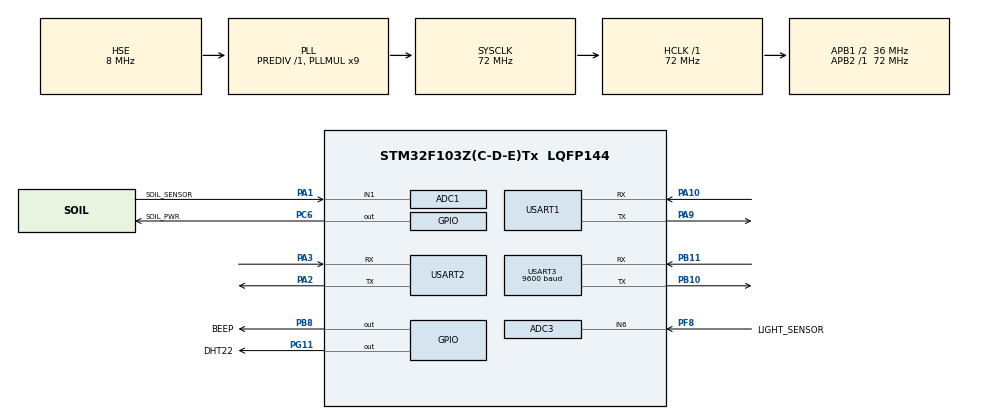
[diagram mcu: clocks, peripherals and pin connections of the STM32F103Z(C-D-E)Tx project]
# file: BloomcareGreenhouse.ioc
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ADC1.Channel-0\#ChannelRegularConversion=ADC_CHANNEL_1
ADC1.NbrOfConversionFlag=1
ADC1.Rank-0\#ChannelRegularConversion=1
ADC1.SamplingTime-0\#ChannelRegularConversion=ADC_SAMPLETIME_239CYCLES_5
ADC1.master=1
ADC3.Channel-0\#ChannelRegularConversion=ADC_CHANNEL_6
ADC3.NbrOfConversionFlag=1
ADC3.Rank-0\#ChannelRegularConversion=1
ADC3.SamplingTime-0\#ChannelRegularConversion=ADC_SAMPLETIME_239CYCLES_5
Dma.Request0=USART2_RX
Dma.Request1=USART2_TX
Dma.Request2=USART3_RX
Dma.Request3=USART3_TX
Dma.USART2_RX.0.Direction=DMA_PERIPH_TO_MEMORY
Dma.USART2_RX.0.Instance=DMA1_Channel6
Dma.USART2_RX.0.MemDataAlignment=DMA_MDATAALIGN_BYTE
Dma.USART2_RX.0.MemInc=DMA_MINC_ENABLE
Dma.USART2_RX.0.Mode=DMA_CIRCULAR
Dma.USART2_RX.0.PeriphDataAlignment=DMA_PDATAALIGN_BYTE
Dma.USART2_RX.0.PeriphInc=DMA_PINC_DISABLE
Dma.USART2_RX.0.Priority=DMA_PRIORITY_LOW
Dma.USART2_TX.1.Direction=DMA_MEMORY_TO_PERIPH
Dma.USART2_TX.1.Instance=DMA1_Channel7
Dma.USART2_TX.1.MemDataAlignment=DMA_MDATAALIGN_BYTE
Dma.USART2_TX.1.MemInc=DMA_MINC_ENABLE
Dma.USART2_TX.1.Mode=DMA_NORMAL
Dma.USART2_TX.1.PeriphDataAlignment=DMA_PDATAALIGN_BYTE
Dma.USART2_TX.1.PeriphInc=DMA_PINC_DISABLE
Dma.USART2_TX.1.Priority=DMA_PRIORITY_LOW
Dma.USART3_RX.2.Direction=DMA_PERIPH_TO_MEMORY
Dma.USART3_RX.2.Instance=DMA1_Channel3
Dma.USART3_RX.2.MemDataAlignment=DMA_MDATAALIGN_BYTE
Dma.USART3_RX.2.MemInc=DMA_MINC_ENABLE
Dma.USART3_RX.2.Mode=DMA_CIRCULAR
Dma.USART3_RX.2.PeriphDataAlignment=DMA_PDATAALIGN_BYTE
Dma.USART3_RX.2.PeriphInc=DMA_PINC_DISABLE
Dma.USART3_RX.2.Priority=DMA_PRIORITY_HIGH
Dma.USART3_TX.3.Direction=DMA_MEMORY_TO_PERIPH
Dma.USART3_TX.3.Instance=DMA1_Channel2
Dma.USART3_TX.3.MemDataAlignment=DMA_MDATAALIGN_BYTE
Dma.USART3_TX.3.MemInc=DMA_MINC_ENABLE
Dma.USART3_TX.3.Mode=DMA_NORMAL
Dma.USART3_TX.3.PeriphDataAlignment=DMA_PDATAALIGN_BYTE
Dma.USART3_TX.3.PeriphInc=DMA_PINC_DISABLE
Dma.USART3_TX.3.Priority=DMA_PRIORITY_LOW
Mcu.Family=STM32F1
Mcu.Name=STM32F103Z(C-D-E)Tx
Mcu.Package=LQFP144
NVIC.DMA1_Channel2_IRQn=true\:0\:0\:false\:false\:true\:false\:true\:true
NVIC.DMA1_Channel3_IRQn=true\:0\:0\:false\:false\:true\:false\:true\:true
NVIC.DMA1_Channel6_IRQn=true\:0\:0\:false\:false\:true\:false\:true\:true
NVIC.DMA1_Channel7_IRQn=true\:0\:0\:false\:false\:true\:false\:true\:true
NVIC.PriorityGroup=NVIC_PRIORITYGROUP_4
NVIC.USART2_IRQn=true\:0\:0\:false\:false\:true\:true\:true\:true
NVIC.USART3_IRQn=true\:0\:0\:false\:false\:true\:true\:true\:true
OSC_IN.Mode=HSE-External-Oscillator
OSC_IN.Signal=RCC_OSC_IN
OSC_OUT.Mode=HSE-External-Oscillator
OSC_OUT.Signal=RCC_OSC_OUT
PA1.GPIO_Label=SOIL_SENSOR
PA1.Signal=ADCx_IN1
PA10.Mode=Asynchronous
PA10.Signal=USART1_RX
PA2.Mode=Asynchronous
PA2.Signal=USART2_TX
PA3.Mode=Asynchronous
PA3.Signal=USART2_RX
PA9.Mode=Asynchronous
PA9.Signal=USART1_TX
PB10.Mode=Asynchronous
PB10.Signal=USART3_TX
PB11.Mode=Asynchronous
PB11.Signal=USART3_RX
PB8.GPIO_Label=BEEP
PB8.PinState=GPIO_PIN_RESET
PB8.Signal=GPIO_Output
PC6.GPIO_Label=SOIL_PWR
PC6.Signal=GPIO_Output
PF8.GPIO_Label=LIGHT_SENSOR
PF8.Mode=IN6
PF8.Signal=ADC3_IN6
PG11.GPIO_Label=DHT22
PG11.PinState=GPIO_PIN_SET
PG11.Signal=GPIO_Output
ProjectManager.HeapSize=0x200
ProjectManager.StackSize=0x400
ProjectManager.TargetToolchain=MDK-ARM V5.32
RCC.ADCPresc=RCC_ADCPCLK2_DIV6
RCC.AHBFreq_Value=72000000
RCC.APB1CLKDivider=RCC_HCLK_DIV2
RCC.APB1Freq_Value=36000000
RCC.APB1TimFreq_Value=72000000
RCC.APB2Freq_Value=72000000
RCC.APB2TimFreq_Value=72000000
RCC.HCLKFreq_Value=72000000
RCC.PLLMUL=RCC_PLL_MUL9
RCC.PLLSourceVirtual=RCC_PLLSOURCE_HSE
RCC.SYSCLKFreq_VALUE=72000000
RCC.SYSCLKSource=RCC_SYSCLKSOURCE_PLLCLK
RCC.USBFreq_Value=72000000
SH.ADCx_IN1.0=ADC1_IN1,IN1
TIM2.Prescaler=71
USART1.VirtualMode=VM_ASYNC
USART2.VirtualMode=VM_ASYNC
USART3.BaudRate=9600
USART3.VirtualMode=VM_ASYNC
VP_SYS_VS_ND.Mode=No_Debug
VP_TIM2_VS_ClockSourceINT.Mode=Internal
board=custom

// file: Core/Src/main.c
/* USER CODE BEGIN Header */
/**
  ******************************************************************************
  * @file           : main.c
  * @brief          : Main program body
  ******************************************************************************
  * @attention
  *
  * Copyright (c) 2026 STMicroelectronics.
  * All rights reserved.
  *
  * This software is licensed under terms that can be found in the LICENSE file
  * in the root directory of this software component.
  * If no LICENSE file comes with this software, it is provided AS-IS.
  *
  ******************************************************************************
  */
/* USER CODE END Header */
#include "main.h"

/* USER CODE BEGIN Includes */
#include "bsp_delay.h"     /* BSP    : TIM2 microsecond delay, USART1 console */
#include "bsp_uart.h"      /* BSP    : USART2 link transport, DMA ring + IDLE */
#include "dev_manager.h"   /* Device : sensor / actuator table                */
#include "act_beep.h"      /* Device : buzzer cue on the actuator pin         */
#include "task_comm.h"     /* Tasks  : link protocol service                  */
#include "task_sensor.h"   /* Tasks  : acquisition and reporting              */
#include "task_control.h"  /* Tasks  : command execution                      */
#include <stdio.h>
/* USER CODE END Includes */

/* USER CODE BEGIN PD */
/* Start-up cue on the buzzer: two short beeps once every layer is up. */
#define BOOT_BEEP_TIMES     2U
#define BOOT_BEEP_ON_MS     80U
#define BOOT_BEEP_GAP_MS    80U
/* USER CODE END PD */

ADC_HandleTypeDef hadc1;
ADC_HandleTypeDef hadc3;

TIM_HandleTypeDef htim2;

UART_HandleTypeDef huart1;
UART_HandleTypeDef huart2;
UART_HandleTypeDef huart3;
DMA_HandleTypeDef hdma_usart2_rx;
DMA_HandleTypeDef hdma_usart2_tx;
DMA_HandleTypeDef hdma_usart3_rx;
DMA_HandleTypeDef hdma_usart3_tx;

void SystemClock_Config(void);
static void MX_GPIO_Init(void);
static void MX_DMA_Init(void);
static void MX_USART1_UART_Init(void);
static void MX_TIM2_Init(void);
static void MX_USART2_UART_Init(void);
static void MX_ADC3_Init(void);
static void MX_ADC1_Init(void);
static void MX_USART3_UART_Init(void);

/* USER CODE BEGIN 0 */
/* ------------------------------------------------------------------
   The application logic lives in the Tasks/ layer now:
     Tasks/task_comm.c    - link protocol service and debug counters
     Tasks/task_sensor.c  - sensor acquisition and reporting
     Tasks/task_control.c - command execution on the actuators
   main.c stays the thin CubeMX shell: start the layers, then poll them.
   ------------------------------------------------------------------ */
/* USER CODE END 0 */

int main(void)
{

  /* MCU Configuration--------------------------------------------------------*/

  /* Reset of all peripherals, Initializes the Flash interface and the Systick. */
  HAL_Init();

  /* Configure the system clock */
  SystemClock_Config();

  /* Initialize all configured peripherals */
  MX_GPIO_Init();
  MX_DMA_Init();
  MX_USART1_UART_Init();
  MX_TIM2_Init();
  MX_USART2_UART_Init();
  MX_ADC3_Init();
  MX_ADC1_Init();
  MX_USART3_UART_Init();
  /* USER CODE BEGIN 2 */
  uint8_t dev_failed;

  /* Start the layers bottom up: board -> devices -> tasks. */
  BSP_Delay_Init();                  /* TIM2 as free running 1us counter     */
  BSP_Uart_Init();                   /* USART1 console, printf goes here     */
  dev_failed = Dev_Manager_Init();   /* open every device of the table       */
  Dev_Manager_List();                /* print what got registered            */
  Task_Sensor_Init();                /* acquisition timers                   */
  Task_Control_Init();               /* CONTROL command handling             */
  Task_Comm_Init();                  /* protocol, USART2 DMA ring + IDLE     */
  printf("[BOOT] USART1 115200 8N1 ready\r\n");

  /* Every layer came up, so two short beeps are the audible ready cue. A
     device that failed to open keeps it silent instead, the log above
     names the one that failed. */
  if (dev_failed == 0U)
  {
    Act_Beep_Pattern(BOOT_BEEP_TIMES, BOOT_BEEP_ON_MS, BOOT_BEEP_GAP_MS);
  }
  /* USER CODE END 2 */

  /* Infinite loop */
  /* USER CODE BEGIN WHILE */
  uint32_t now;

  while (1)
  {
    now = HAL_GetTick();

    Task_Comm_Poll(now);           /* parse RX, answer CONTROL, resend TX    */
    Task_Sensor_Poll(now);         /* sample the devices and report them     */
    /* USER CODE END WHILE */

  }
}

void SystemClock_Config(void)
{
  RCC_OscInitTypeDef RCC_OscInitStruct = {0};
  RCC_ClkInitTypeDef RCC_ClkInitStruct = {0};
  RCC_PeriphCLKInitTypeDef PeriphClkInit = {0};

  /** Initializes the RCC Oscillators according to the specified parameters
  * in the RCC_OscInitTypeDef structure.
  */
  RCC_OscInitStruct.OscillatorType = RCC_OSCILLATORTYPE_HSE;
  RCC_OscInitStruct.HSEState = RCC_HSE_ON;
  RCC_OscInitStruct.HSEPredivValue = RCC_HSE_PREDIV_DIV1;
  RCC_OscInitStruct.HSIState = RCC_HSI_ON;
  RCC_OscInitStruct.PLL.PLLState = RCC_PLL_ON;
  RCC_OscInitStruct.PLL.PLLSource = RCC_PLLSOURCE_HSE;
  RCC_OscInitStruct.PLL.PLLMUL = RCC_PLL_MUL9;
  if (HAL_RCC_OscConfig(&RCC_OscInitStruct) != HAL_OK)
  {
    Error_Handler();
  }

  /** Initializes the CPU, AHB and APB buses clocks
  */
  RCC_ClkInitStruct.ClockType = RCC_CLOCKTYPE_HCLK|RCC_CLOCKTYPE_SYSCLK
                              |RCC_CLOCKTYPE_PCLK1|RCC_CLOCKTYPE_PCLK2;
  RCC_ClkInitStruct.SYSCLKSource = RCC_SYSCLKSOURCE_PLLCLK;
  RCC_ClkInitStruct.AHBCLKDivider = RCC_SYSCLK_DIV1;
  RCC_ClkInitStruct.APB1CLKDivider = RCC_HCLK_DIV2;
  RCC_ClkInitStruct.APB2CLKDivider = RCC_HCLK_DIV1;

  if (HAL_RCC_ClockConfig(&RCC_ClkInitStruct, FLASH_LATENCY_2) != HAL_OK)
  {
    Error_Handler();
  }
  PeriphClkInit.PeriphClockSelection = RCC_PERIPHCLK_ADC;
  PeriphClkInit.AdcClockSelection = RCC_ADCPCLK2_DIV6;
  if (HAL_RCCEx_PeriphCLKConfig(&PeriphClkInit) != HAL_OK)
  {
    Error_Handler();
  }
}

static void MX_ADC1_Init(void)
{

  ADC_ChannelConfTypeDef sConfig = {0};

  /** Common config
  */
  hadc1.Instance = ADC1;
  hadc1.Init.ScanConvMode = ADC_SCAN_DISABLE;
  hadc1.Init.ContinuousConvMode = DISABLE;
  hadc1.Init.DiscontinuousConvMode = DISABLE;
  hadc1.Init.ExternalTrigConv = ADC_SOFTWARE_START;
  hadc1.Init.DataAlign = ADC_DATAALIGN_RIGHT;
  hadc1.Init.NbrOfConversion = 1;
  if (HAL_ADC_Init(&hadc1) != HAL_OK)
  {
    Error_Handler();
  }

  /** Configure Regular Channel
  */
  sConfig.Channel = ADC_CHANNEL_1;
  sConfig.Rank = ADC_REGULAR_RANK_1;
  sConfig.SamplingTime = ADC_SAMPLETIME_239CYCLES_5;
  if (HAL_ADC_ConfigChannel(&hadc1, &sConfig) != HAL_OK)
  {
    Error_Handler();
  }

}

static void MX_ADC3_Init(void)
{

  ADC_ChannelConfTypeDef sConfig = {0};

  /** Common config
  */
  hadc3.Instance = ADC3;
  hadc3.Init.ScanConvMode = ADC_SCAN_DISABLE;
  hadc3.Init.ContinuousConvMode = DISABLE;
  hadc3.Init.DiscontinuousConvMode = DISABLE;
  hadc3.Init.ExternalTrigConv = ADC_SOFTWARE_START;
  hadc3.Init.DataAlign = ADC_DATAALIGN_RIGHT;
  hadc3.Init.NbrOfConversion = 1;
  if (HAL_ADC_Init(&hadc3) != HAL_OK)
  {
    Error_Handler();
  }

  /** Configure Regular Channel
  */
  sConfig.Channel = ADC_CHANNEL_6;
  sConfig.Rank = ADC_REGULAR_RANK_1;
  sConfig.SamplingTime = ADC_SAMPLETIME_239CYCLES_5;
  if (HAL_ADC_ConfigChannel(&hadc3, &sConfig) != HAL_OK)
  {
    Error_Handler();
  }

}

static void MX_TIM2_Init(void)
{

  TIM_ClockConfigTypeDef sClockSourceConfig = {0};
  TIM_MasterConfigTypeDef sMasterConfig = {0};

  htim2.Instance = TIM2;
  htim2.Init.Prescaler = 71;
  htim2.Init.CounterMode = TIM_COUNTERMODE_UP;
  htim2.Init.Period = 65535;
  htim2.Init.ClockDivision = TIM_CLOCKDIVISION_DIV1;
  htim2.Init.AutoReloadPreload = TIM_AUTORELOAD_PRELOAD_DISABLE;
  if (HAL_TIM_Base_Init(&htim2) != HAL_OK)
  {
    Error_Handler();
  }
  sClockSourceConfig.ClockSource = TIM_CLOCKSOURCE_INTERNAL;
  if (HAL_TIM_ConfigClockSource(&htim2, &sClockSourceConfig) != HAL_OK)
  {
    Error_Handler();
  }
  sMasterConfig.MasterOutputTrigger = TIM_TRGO_RESET;
  sMasterConfig.MasterSlaveMode = TIM_MASTERSLAVEMODE_DISABLE;
  if (HAL_TIMEx_MasterConfigSynchronization(&htim2, &sMasterConfig) != HAL_OK)
  {
    Error_Handler();
  }

}

static void MX_USART1_UART_Init(void)
{

  huart1.Instance = USART1;
  huart1.Init.BaudRate = 115200;
  huart1.Init.WordLength = UART_WORDLENGTH_8B;
  huart1.Init.StopBits = UART_STOPBITS_1;
  huart1.Init.Parity = UART_PARITY_NONE;
  huart1.Init.Mode = UART_MODE_TX_RX;
  huart1.Init.HwFlowCtl = UART_HWCONTROL_NONE;
  huart1.Init.OverSampling = UART_OVERSAMPLING_16;
  if (HAL_UART_Init(&huart1) != HAL_OK)
  {
    Error_Handler();
  }

}

static void MX_USART2_UART_Init(void)
{

  huart2.Instance = USART2;
  huart2.Init.BaudRate = 115200;
  huart2.Init.WordLength = UART_WORDLENGTH_8B;
  huart2.Init.StopBits = UART_STOPBITS_1;
  huart2.Init.Parity = UART_PARITY_NONE;
  huart2.Init.Mode = UART_MODE_TX_RX;
  huart2.Init.HwFlowCtl = UART_HWCONTROL_NONE;
  huart2.Init.OverSampling = UART_OVERSAMPLING_16;
  if (HAL_UART_Init(&huart2) != HAL_OK)
  {
    Error_Handler();
  }

}

static void MX_USART3_UART_Init(void)
{

  huart3.Instance = USART3;
  huart3.Init.BaudRate = 9600;
  huart3.Init.WordLength = UART_WORDLENGTH_8B;
  huart3.Init.StopBits = UART_STOPBITS_1;
  huart3.Init.Parity = UART_PARITY_NONE;
  huart3.Init.Mode = UART_MODE_TX_RX;
  huart3.Init.HwFlowCtl = UART_HWCONTROL_NONE;
  huart3.Init.OverSampling = UART_OVERSAMPLING_16;
  if (HAL_UART_Init(&huart3) != HAL_OK)
  {
    Error_Handler();
  }

}

static void MX_DMA_Init(void)
{

  /* DMA controller clock enable */
  __HAL_RCC_DMA1_CLK_ENABLE();

  /* DMA interrupt init */
  /* DMA1_Channel2_IRQn interrupt configuration */
  HAL_NVIC_SetPriority(DMA1_Channel2_IRQn, 0, 0);
  HAL_NVIC_EnableIRQ(DMA1_Channel2_IRQn);
  /* DMA1_Channel3_IRQn interrupt configuration */
  HAL_NVIC_SetPriority(DMA1_Channel3_IRQn, 0, 0);
  HAL_NVIC_EnableIRQ(DMA1_Channel3_IRQn);
  /* DMA1_Channel6_IRQn interrupt configuration */
  HAL_NVIC_SetPriority(DMA1_Channel6_IRQn, 0, 0);
  HAL_NVIC_EnableIRQ(DMA1_Channel6_IRQn);
  /* DMA1_Channel7_IRQn interrupt configuration */
  HAL_NVIC_SetPriority(DMA1_Channel7_IRQn, 0, 0);
  HAL_NVIC_EnableIRQ(DMA1_Channel7_IRQn);

}

static void MX_GPIO_Init(void)
{
  GPIO_InitTypeDef GPIO_InitStruct = {0};

  /* GPIO Ports Clock Enable */
  __HAL_RCC_GPIOF_CLK_ENABLE();
  __HAL_RCC_GPIOA_CLK_ENABLE();
  __HAL_RCC_GPIOB_CLK_ENABLE();
  __HAL_RCC_GPIOC_CLK_ENABLE();
  __HAL_RCC_GPIOG_CLK_ENABLE();

  /*Configure GPIO pin Output Level */
  HAL_GPIO_WritePin(SOIL_PWR_GPIO_Port, SOIL_PWR_Pin, GPIO_PIN_RESET);

  /*Configure GPIO pin Output Level */
  HAL_GPIO_WritePin(DHT22_GPIO_Port, DHT22_Pin, GPIO_PIN_SET);

  /*Configure GPIO pin Output Level */
  HAL_GPIO_WritePin(BEEP_GPIO_Port, BEEP_Pin, GPIO_PIN_RESET);

  /*Configure GPIO pin : SOIL_PWR_Pin */
  GPIO_InitStruct.Pin = SOIL_PWR_Pin;
  GPIO_InitStruct.Mode = GPIO_MODE_OUTPUT_PP;
  GPIO_InitStruct.Pull = GPIO_NOPULL;
  GPIO_InitStruct.Speed = GPIO_SPEED_FREQ_LOW;
  HAL_GPIO_Init(SOIL_PWR_GPIO_Port, &GPIO_InitStruct);

  /*Configure GPIO pin : DHT22_Pin */
  GPIO_InitStruct.Pin = DHT22_Pin;
  GPIO_InitStruct.Mode = GPIO_MODE_OUTPUT_PP;
  GPIO_InitStruct.Pull = GPIO_NOPULL;
  GPIO_InitStruct.Speed = GPIO_SPEED_FREQ_LOW;
  HAL_GPIO_Init(DHT22_GPIO_Port, &GPIO_InitStruct);

  /*Configure GPIO pin : BEEP_Pin */
  GPIO_InitStruct.Pin = BEEP_Pin;
  GPIO_InitStruct.Mode = GPIO_MODE_OUTPUT_PP;
  GPIO_InitStruct.Pull = GPIO_NOPULL;
  GPIO_InitStruct.Speed = GPIO_SPEED_FREQ_LOW;
  HAL_GPIO_Init(BEEP_GPIO_Port, &GPIO_InitStruct);

}

void Error_Handler(void)
{
  __disable_irq();
  while (1)
  {
  }
}
